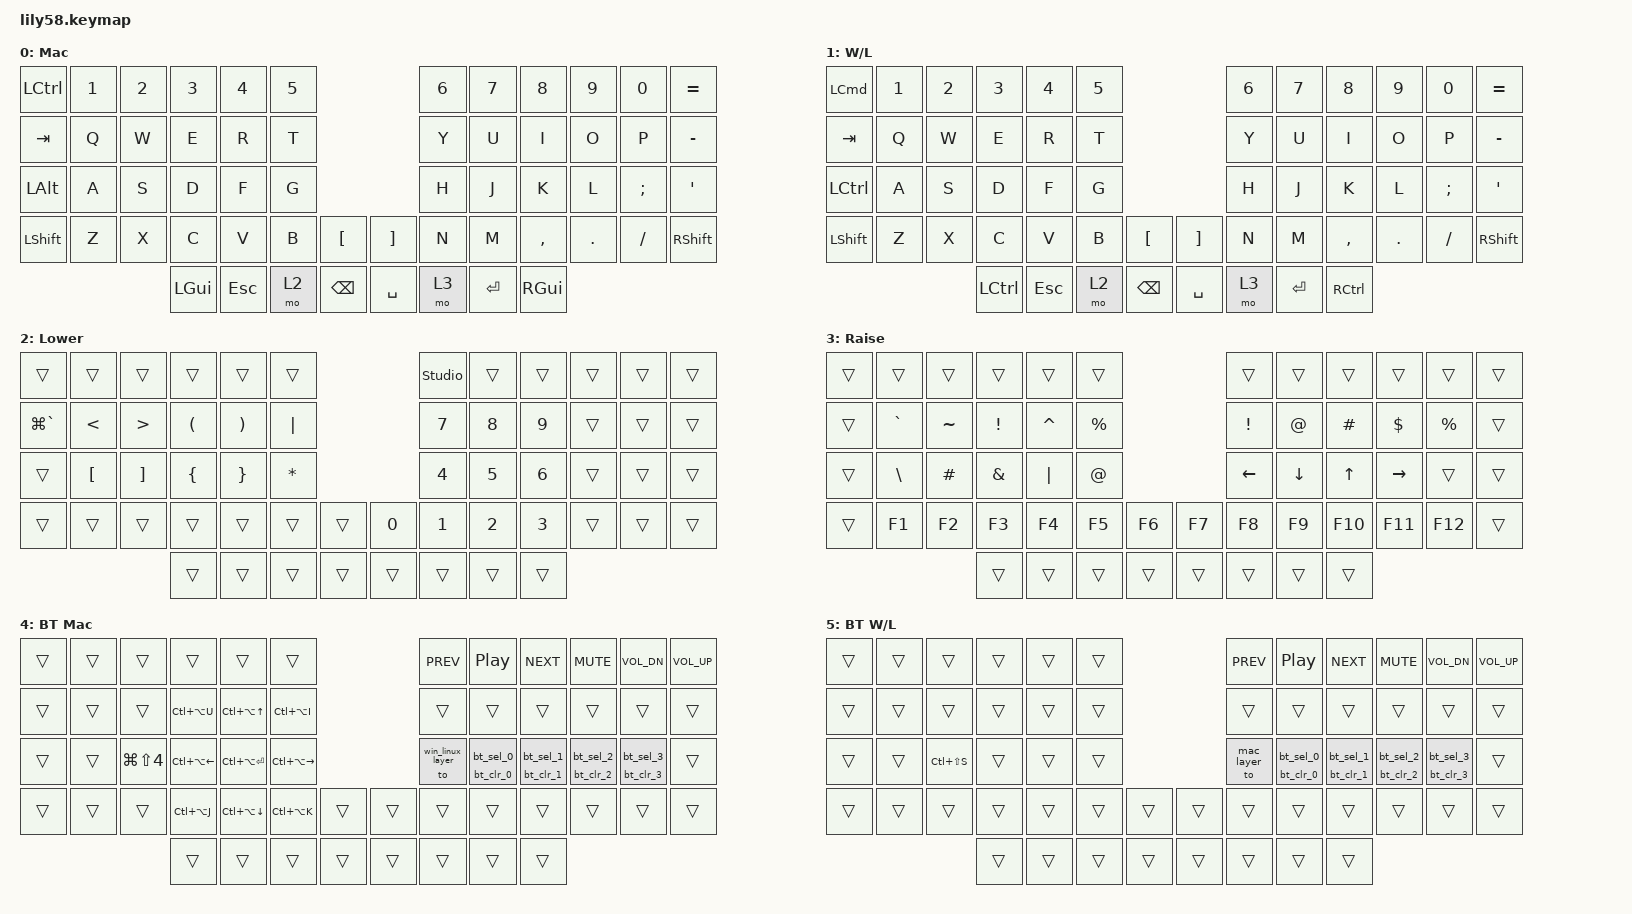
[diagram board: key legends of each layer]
/*
 * Copyright (c) 2020 The ZMK Contributors
 *
 * SPDX-License-Identifier: MIT
 */

#include <behaviors.dtsi>
#include <dt-bindings/zmk/bt.h>
#include <dt-bindings/zmk/keys.h>

#define mac_layer 0
#define win_linux_layer 1
#define lower_layer 2
#define raise_layer 3
#define mac_bt_layer 4
#define win_linux_bt_layer 5

/ {
    macros {
        bt_sel_0: bt_sel_0 {
            compatible = "zmk,behavior-macro";
            #binding-cells = <0>;
            bindings = <&bt BT_SEL 0 &to mac_layer>;
        };

        bt_sel_1: bt_sel_1 {
            compatible = "zmk,behavior-macro";
            #binding-cells = <0>;
            bindings = <&bt BT_SEL 1 &to mac_layer>;
        };

        bt_sel_2: bt_sel_2 {
            compatible = "zmk,behavior-macro";
            #binding-cells = <0>;
            bindings = <&bt BT_SEL 2 &to win_linux_layer>;
        };

        bt_sel_3: bt_sel_3 {
            compatible = "zmk,behavior-macro";
            #binding-cells = <0>;
            bindings = <&bt BT_SEL 3 &to win_linux_layer>;
        };

        bt_clr_0: bt_clr_0 {
            compatible = "zmk,behavior-macro";
            #binding-cells = <0>;
            wait-ms = <20>;
            bindings = <&bt BT_SEL 0 &bt BT_CLR &to mac_layer>;
        };

        bt_clr_1: bt_clr_1 {
            compatible = "zmk,behavior-macro";
            #binding-cells = <0>;
            wait-ms = <20>;
            bindings = <&bt BT_SEL 1 &bt BT_CLR &to mac_layer>;
        };

        bt_clr_2: bt_clr_2 {
            compatible = "zmk,behavior-macro";
            #binding-cells = <0>;
            wait-ms = <20>;
            bindings = <&bt BT_SEL 2 &bt BT_CLR &to win_linux_layer>;
        };

        bt_clr_3: bt_clr_3 {
            compatible = "zmk,behavior-macro";
            #binding-cells = <0>;
            wait-ms = <20>;
            bindings = <&bt BT_SEL 3 &bt BT_CLR &to win_linux_layer>;
        };
    };

    behaviors {
        bt_profile: bt_profile {
            compatible = "zmk,behavior-hold-tap";
            #binding-cells = <2>;
            flavor = "tap-preferred";
            tapping-term-ms = <600>;
            bindings = <&bt_clr_0>, <&bt_sel_0>;
        };

        bt_profile_1: bt_profile_1 {
            compatible = "zmk,behavior-hold-tap";
            #binding-cells = <2>;
            flavor = "tap-preferred";
            tapping-term-ms = <600>;
            bindings = <&bt_clr_1>, <&bt_sel_1>;
        };

        bt_profile_2: bt_profile_2 {
            compatible = "zmk,behavior-hold-tap";
            #binding-cells = <2>;
            flavor = "tap-preferred";
            tapping-term-ms = <600>;
            bindings = <&bt_clr_2>, <&bt_sel_2>;
        };

        bt_profile_3: bt_profile_3 {
            compatible = "zmk,behavior-hold-tap";
            #binding-cells = <2>;
            flavor = "tap-preferred";
            tapping-term-ms = <600>;
            bindings = <&bt_clr_3>, <&bt_sel_3>;
        };
    };

    conditional_layers {
        compatible = "zmk,conditional-layers";

        mac_conditional_bt_layer {
            if-layers = <lower_layer raise_layer>;
            then-layer = <mac_bt_layer>;
        };

        win_linux_bt_conditional_layer {
            if-layers = <win_linux_layer lower_layer raise_layer>;
            then-layer = <win_linux_bt_layer>;
        };
    };

    keymap {
        compatible = "zmk,keymap";

        mac_layer {
            display-name = "Mac";

            // Mac swaps the thumb Command/Option order while leaving the rest of the base layout unchanged.

            bindings = <
&kp LCTRL     &kp N1  &kp N2  &kp N3    &kp N4   &kp N5                              &kp N6  &kp N7     &kp N8     &kp N9   &kp N0    &kp EQUAL
&kp TAB       &kp Q   &kp W   &kp E     &kp R    &kp T                               &kp Y   &kp U      &kp I      &kp O    &kp P     &kp MINUS
&kp LEFT_ALT  &kp A   &kp S   &kp D     &kp F    &kp G                               &kp H   &kp J      &kp K      &kp L    &kp SEMI  &kp SQT
&kp LSHFT     &kp Z   &kp X   &kp C     &kp V    &kp B   &kp LBKT         &kp RBKT   &kp N   &kp M      &kp COMMA  &kp DOT  &kp FSLH  &kp RSHFT
                              &kp LGUI  &kp ESC  &mo 2   &kp BACKSPACE    &kp SPACE  &mo 3   &kp ENTER  &kp RGUI
            >;
        };

        win_linux_layer {
            display-name = "W/L";

            // ------------------------------------------------------------------------------------------------------------
            // |  ESC  |  1  |  2  |  3   |  4   |  5   |                   |  6   |  7    |  8    |  9   |   0   |   =   |
            // |  TAB  |  Q  |  W  |  E   |  R   |  T   |                   |  Y   |  U    |  I    |  O   |   P   |   -   |
            // |  CTRL |  A  |  S  |  D   |  F   |  G   |                   |  H   |  J    |  K    |  L   |   ;   |   '   |
            // | SHIFT |  Z  |  X  |  C   |  V   |  B   |   "["  |  |  "]"  |  N   |  M    |  ,    |  .   |   /   | SHIFT |
            //                     | ALT  | GUI  | LOWER|  SPACE |  | ENTER | RAISE| BSPC  | GUI   |

            bindings = <
&kp LEFT_COMMAND  &kp N1  &kp N2  &kp N3     &kp N4   &kp N5                              &kp N6  &kp N7     &kp N8             &kp N9   &kp N0    &kp EQUAL
&kp TAB           &kp Q   &kp W   &kp E      &kp R    &kp T                               &kp Y   &kp U      &kp I              &kp O    &kp P     &kp MINUS
&kp LCTRL         &kp A   &kp S   &kp D      &kp F    &kp G                               &kp H   &kp J      &kp K              &kp L    &kp SEMI  &kp SQT
&kp LSHFT         &kp Z   &kp X   &kp C      &kp V    &kp B   &kp LBKT         &kp RBKT   &kp N   &kp M      &kp COMMA          &kp DOT  &kp FSLH  &kp RSHFT
                                  &kp LCTRL  &kp ESC  &mo 2   &kp BACKSPACE    &kp SPACE  &mo 3   &kp ENTER  &kp RIGHT_CONTROL
            >;
        };

        lower_layer {
            display-name = "Lower";

            // ------------------------------------------------------------------------------------------------------------
            // |       |     |     |      |      |      |                   |UNLOCK|       |       |      |       |       |
            // |       |  <  |  >  |  /   |  \   |  |   |                   |  7   |   8   |   9   |      |       |       |
            // |       |  (  |  )  |  {   |  }   |  *   |                   |  4   |   5   |   6   |  [   |   ]   |       |
            // |       |     |     |      |      |      |        |  |  0    |  1   |   2   |   3   |      |       |       |
            //                     |      |      |      |        |  |       |      |       |       |

            bindings = <
&trans         &trans            &trans             &trans                &trans                 &trans                       &studio_unlock  &trans  &trans  &trans  &trans  &trans
&kp LG(GRAVE)  &kp LT            &kp GT             &kp LEFT_PARENTHESIS  &kp RIGHT_PARENTHESIS  &kp PIPE                     &kp N7          &kp N8  &kp N9  &trans  &trans  &trans
&trans         &kp LEFT_BRACKET  &kp RIGHT_BRACKET  &kp LBRC              &kp RBRC               &kp ASTRK                    &kp N4          &kp N5  &kp N6  &trans  &trans  &trans
&trans         &trans            &trans             &trans                &trans                 &trans     &trans    &kp N0  &kp N1          &kp N2  &kp N3  &trans  &trans  &trans
                                                    &trans                &trans                 &trans     &trans    &trans  &trans          &trans  &trans
            >;
        };

        raise_layer {
            display-name = "Raise";

            // ------------------------------------------------------------------------------------------------------------
            // |       |     |     |      |      |      |                   |      |       |       |      |       |       |
            // |       |     |  UP |      |      |      |                   |  !   |   @   |   #   |  $   |   %   |       |
            // |       |LEFT |DOWN |RIGHT |      |      |                   | LEFT | DOWN  |  UP   |RIGHT |       |       |
            // |       | F1  | F2  | F3   | F4   | F5   |   F6   |  |  F7  | F8  |   F9  | F10  | F11  | F12   |       |
            //                     |      |      |      |        |  |       |      |       |       |

            bindings = <
&trans  &trans         &trans     &trans           &trans     &trans                         &trans    &trans    &trans    &trans      &trans     &trans
&trans  &kp GRAVE      &kp TILDE  &kp EXCLAMATION  &kp CARET  &kp PERCENT                    &kp EXCL  &kp AT    &kp HASH  &kp DOLLAR  &kp PRCNT  &trans
&trans  &kp BACKSLASH  &kp HASH   &kp AMPERSAND    &kp PIPE   &kp AT                         &kp LEFT  &kp DOWN  &kp UP    &kp RIGHT   &trans     &trans
&trans  &kp F1         &kp F2     &kp F3           &kp F4     &kp F5       &kp F6    &kp F7  &kp F8    &kp F9    &kp F10   &kp F11     &kp F12    &trans
                                  &trans           &trans     &trans       &trans    &trans  &trans    &trans    &trans
            >;
        };

        mac_bt_layer {
            display-name = "BT Mac";

            // ------------------------------------------------------------------------------------------------------------
            // |       |     |     |      |      |      |                   | PREV |  PP   | NEXT  | MUTE | VOLDN | VOLUP |
            // |       |     |     |  U   |  UP  |  I   |                   |      |       |       |      |       |       |
            // |       |     | C`  | LEFT |ENTER |RIGHT |                   | OS   | BT1   | BT2   | BT3  | BT4   |       |
            // |       |     |     |  J   | DOWN |  K   |        |  |       |      |       |       |      |       |       |
            //                     |      |      |      |        |  |       |      |       |       |

            bindings = <
&trans  &trans  &trans                &trans            &trans             &trans                               &kp C_PREV           &kp C_PP         &kp C_NEXT         &kp C_MUTE         &kp C_VOL_DN       &kp C_VOL_UP
&trans  &trans  &trans                &kp LC(LA(U))     &kp LC(LA(UP))     &kp LC(LA(I))                        &trans               &trans           &trans             &trans             &trans             &trans
&trans  &trans  &kp LG(LS(NUMBER_4))  &kp LC(LA(LEFT))  &kp LC(LA(ENTER))  &kp LC(LA(RIGHT))                    &to win_linux_layer  &bt_profile 0 0  &bt_profile_1 0 0  &bt_profile_2 0 0  &bt_profile_3 0 0  &trans
&trans  &trans  &trans                &kp LC(LA(J))     &kp LC(LA(DOWN))   &kp LC(LA(K))      &trans    &trans  &trans               &trans           &trans             &trans             &trans             &trans
                                      &trans            &trans             &trans             &trans    &trans  &trans               &trans           &trans
            >;
        };

        win_linux_bt_layer {
            display-name = "BT W/L";

            // ------------------------------------------------------------------------------------------------------------
            // |       |     |     |      |      |      |                   | PREV |  PP   | NEXT  | MUTE | VOLDN | VOLUP |
            // |       |     |     |      |      |      |                   |      |       |       |      |       |       |
            // |       |     | S/S |      |      |      |                   | OS   | BT1   | BT2   | BT3  | BT4   |       |
            // |   F7  |  F8 |  F9 |  F10 |  F11 |  F12 |        |  |       |  +   |   -   |   =   |  [   |   ]   |   \   |
            //                     |      |      |      |        |  |       |      |       |       |

            bindings = <
&trans  &trans  &trans         &trans  &trans  &trans                    &kp C_PREV     &kp C_PP         &kp C_NEXT         &kp C_MUTE         &kp C_VOL_DN       &kp C_VOL_UP
&trans  &trans  &trans         &trans  &trans  &trans                    &trans         &trans           &trans             &trans             &trans             &trans
&trans  &trans  &kp LC(LS(S))  &trans  &trans  &trans                    &to mac_layer  &bt_profile 0 0  &bt_profile_1 0 0  &bt_profile_2 0 0  &bt_profile_3 0 0  &trans
&trans  &trans  &trans         &trans  &trans  &trans  &trans    &trans  &trans         &trans           &trans             &trans             &trans             &trans
                               &trans  &trans  &trans  &trans    &trans  &trans         &trans           &trans
            >;
        };
    };
};
